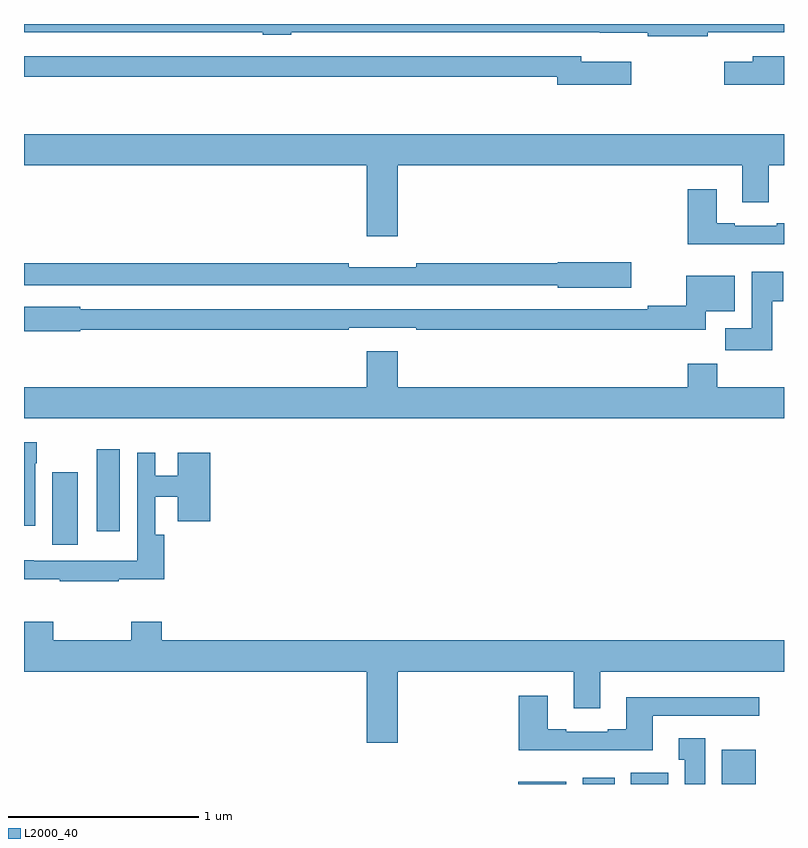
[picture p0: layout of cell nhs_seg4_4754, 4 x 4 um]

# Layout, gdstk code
import gdstk
lib = gdstk.Library(unit=1e-6, precision=1e-09)
def R(c, l, rs):  # rectangles x0, y0, x1, y1
    for r in rs: c.add(gdstk.rectangle(r[:2], r[2:], *l))
def P(c, l, *ps):  # polygons
    for p in ps: c.add(gdstk.Polygon(p, *l))
L2000_40 = (2000, 40)

nhs_seg4_4754 = lib.new_cell('nhs_seg4_4754')
R(nhs_seg4_4754, L2000_40, [(369.602,790.9,369.853,790.912), (369.941,790.9,370.108,790.933), (370.193,790.9,370.39,790.96), (370.673,790.9,370.852,791.08), (367.148,792.16,367.282,792.541), (367.382,792.231,367.504,792.661)])
P(nhs_seg4_4754, L2000_40, [(370.598,794.856),(371,794.856),(371,794.9),(367,794.9),(367,794.856),(368.256,794.856),(368.256,794.843),(368.406,794.843),(368.406,794.856),(370.03,794.856),(370.03,794.855),(370.282,794.855),(370.282,794.836),(370.598,794.836)],
  [(370.195,794.701),(369.934,794.701),(369.934,794.73),(367,794.73),(367,794.622),(369.806,794.622),(369.806,794.579),(370.195,794.579)],
  [(371,794.73),(370.835,794.73),(370.835,794.701),(370.686,794.701),(370.686,794.579),(371,794.579)],
  [(368.968,794.156),(370.781,794.156),(370.781,793.962),(370.921,793.962),(370.921,794.156),(371,794.156),(371,794.32),(367,794.32),(367,794.156),(368.804,794.156),(368.804,793.782),(368.968,793.782)],
  [(371,793.852),(370.961,793.852),(370.961,793.839),(370.741,793.839),(370.741,793.852),(370.645,793.852),(370.645,794.029),(370.493,794.029),(370.493,793.742),(371,793.742)],
  [(370.195,793.646),(369.81,793.646),(369.81,793.64),(369.064,793.64),(369.064,793.621),(368.708,793.621),(368.708,793.64),(367,793.64),(367,793.524),(369.81,793.524),(369.81,793.511),(370.195,793.511)],
  [(370.939,793.441),(370.996,793.441),(370.996,793.597),(370.829,793.597),(370.829,793.3),(370.69,793.3),(370.69,793.182),(370.939,793.182)],
  [(367.296,793.29),(368.708,793.29),(368.708,793.302),(369.064,793.302),(369.064,793.29),(370.587,793.29),(370.587,793.388),(370.741,793.388),(370.741,793.576),(370.486,793.576),(370.486,793.418),(370.282,793.418),(370.282,793.398),(367.296,793.398),(367.296,793.411),(367,793.411),(367,793.282),(367.296,793.282)],
  [(371,792.988),(370.649,792.988),(370.649,793.112),(370.493,793.112),(370.493,792.988),(368.968,792.988),(368.968,793.177),(368.804,793.177),(368.804,792.988),(367,792.988),(367,792.824),(371,792.824)],
  [(367.06,792.587),(367.068,792.587),(367.068,792.7),(367,792.7),(367,792.258),(367.06,792.258)],
  [(367.499,791.977),(367.739,791.977),(367.739,792.211),(367.692,792.211),(367.692,792.413),(367.808,792.413),(367.808,792.282),(367.979,792.282),(367.979,792.643),(367.808,792.643),(367.808,792.523),(367.692,792.523),(367.692,792.643),(367.596,792.643),(367.596,792.076),(367.386,792.076),(367.386,792.075),(367.052,792.075),(367.052,792.077),(367,792.077),(367,791.977),(367.189,791.977),(367.189,791.967),(367.499,791.967)],
  [(368.968,791.492),(369.893,791.492),(369.893,791.298),(370.033,791.298),(370.033,791.492),(371,791.492),(371,791.656),(367.724,791.656),(367.724,791.755),(367.564,791.755),(367.564,791.656),(367.155,791.656),(367.155,791.755),(367,791.755),(367,791.492),(368.804,791.492),(368.804,791.118),(368.968,791.118)],
  [(370.309,791.259),(370.87,791.259),(370.87,791.356),(370.169,791.356),(370.169,791.188),(370.073,791.188),(370.073,791.175),(369.853,791.175),(369.853,791.188),(369.757,791.188),(369.757,791.365),(369.605,791.365),(369.605,791.078),(370.309,791.078)],
  [(370.585,791.14),(370.445,791.14),(370.445,791.027),(370.478,791.027),(370.478,790.9),(370.585,790.9)])

lib.write_gds('nhs_seg4_4754.gds')
